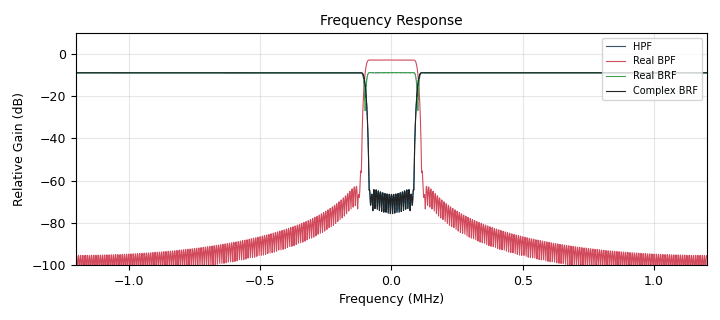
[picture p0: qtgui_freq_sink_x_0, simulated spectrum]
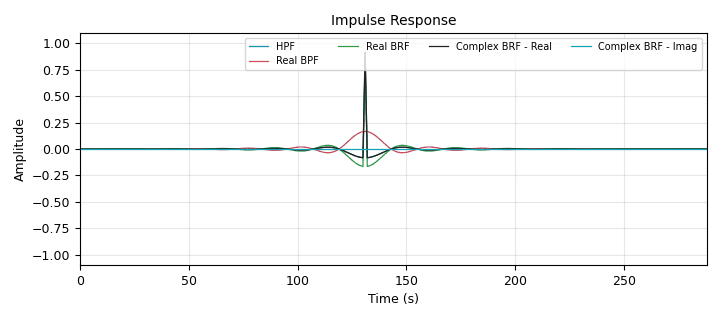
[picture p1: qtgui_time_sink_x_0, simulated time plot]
options:
  parameters:
    generate_options: qt_gui
    id: complex_bandreject
    output_language: python
    title: Making Complex Bandreject
  states: {}

blocks:
- name: M
  id: variable
  parameters:
    value: int((num_taps-1)/2)
  states: {}
- name: N
  id: variable
  parameters:
    value: 2**12
  states: {}
- name: all_pass
  id: variable
  parameters:
    comment: All-pass filter
    value: '[0,]*M+[1,]+[0,]*M'
  states: {}
- name: bw
  id: variable
  parameters:
    comment: |-
      Bandwidth of
      filter
    value: 200e3
  states: {}
- name: complex_brf
  id: variable
  parameters:
    value: np.multiply(hpf,complex_shift)
  states: {}
- name: complex_shift
  id: variable
  parameters:
    value: np.exp(2j*np.pi*n*f/samp_rate)
  states: {}
- name: f
  id: variable_qtgui_range
  parameters:
    gui_hint: 0,0,1,20
    label: Filter Frequency (Hz)
    start: '-samp_rate/2'
    step: 10e3
    stop: samp_rate/2
    value: '0'
  states: {}
- name: hpf
  id: variable
  parameters:
    value: np.multiply(sinc_hpf,w)
  states: {}
- name: impulse
  id: variable
  parameters:
    comment: |-
      Generate impulses for testing
      filter frequency responses
    value: '[0,]*int(N/2)+[N,]+[0,]*int((N/2)-1)'
  states: {}
- name: limit_high
  id: variable
  parameters:
    comment: 'Value: f+(bw/2)'
    value: f+(bw/2)
  states: {}
- name: limit_low
  id: variable
  parameters:
    comment: 'Value: f-(bw/2)'
    value: f-(bw/2)
  states: {}
- name: n
  id: variable
  parameters:
    value: np.arange(-M,M+1,1)
  states: {}
- name: num_taps
  id: variable
  parameters:
    value: '289'
  states: {}
- name: real_bpf
  id: variable
  parameters:
    value: np.multiply(sinc_bpf,w)
  states: {}
- name: real_brf
  id: variable
  parameters:
    value: np.multiply(sinc_brf,w)
  states: {}
- name: samp_rate
  id: variable
  parameters:
    value: 2.4e6
  states: {}
- name: sinc_bpf
  id: variable
  parameters:
    value: np.subtract(sinc_high,sinc_low)
  states: {}
- name: sinc_brf
  id: variable
  parameters:
    value: np.subtract(all_pass,sinc_bpf)
  states: {}
- name: sinc_fixed
  id: variable
  parameters:
    value: 2*(bw/2)/samp_rate*np.sinc(2*n*(bw/2)/samp_rate)
  states: {}
- name: sinc_high
  id: variable
  parameters:
    comment: |-
      Sinc curve for high frequency
      limit.
    value: 2*(limit_high)/samp_rate*np.sinc(2*n*(limit_high)/samp_rate)
  states: {}
- name: sinc_hpf
  id: variable
  parameters:
    value: np.subtract(all_pass,sinc_fixed)
  states: {}
- name: sinc_low
  id: variable
  parameters:
    comment: |-
      Sinc curve for low frequency
      limit.
    value: 2*(limit_low)/samp_rate*np.sinc(2*n*(limit_low)/samp_rate)
  states: {}
- name: w
  id: variable
  parameters:
    comment: Create window
    value: window.hamming(num_taps)
  states: {}
- name: blocks_complex_to_float_0
  id: blocks_complex_to_float
  parameters: {}
  states: {}
- name: blocks_complex_to_real_0
  id: blocks_complex_to_real
  parameters: {}
  states: {}
- name: blocks_complex_to_real_0_0
  id: blocks_complex_to_real
  parameters: {}
  states: {}
- name: blocks_complex_to_real_0_0_0
  id: blocks_complex_to_real
  parameters: {}
  states: {}
- name: blocks_delay_0
  id: blocks_delay
  parameters:
    delay: M
    type: complex
  states: {}
- name: blocks_throttle2_0
  id: blocks_throttle2
  parameters:
    samples_per_second: samp_rate
    type: complex
  states: {}
- name: blocks_vector_source_x_1
  id: blocks_vector_source_x
  parameters:
    repeat: 'True'
    type: complex
    vector: impulse
  states: {}
- name: blocks_vector_source_x_1_0
  id: blocks_vector_source_x
  parameters:
    repeat: 'True'
    type: complex
    vector: all_pass
  states: {}
- name: fft_filter_xxx_0
  id: fft_filter_xxx
  parameters:
    decim: '1'
    taps: hpf
    type: ccc
  states: {}
- name: fft_filter_xxx_0_0
  id: fft_filter_xxx
  parameters:
    decim: '1'
    taps: real_bpf
    type: ccc
  states: {}
- name: fft_filter_xxx_0_0_0
  id: fft_filter_xxx
  parameters:
    decim: '1'
    taps: real_brf
    type: ccc
  states: {}
- name: fft_filter_xxx_0_0_0_0
  id: fft_filter_xxx
  parameters:
    decim: '1'
    taps: complex_brf
    type: ccc
  states: {}
- name: fft_filter_xxx_0_0_0_0_0
  id: fft_filter_xxx
  parameters:
    decim: '1'
    taps: complex_brf
    type: ccc
  states: {}
- name: fft_filter_xxx_0_0_0_1
  id: fft_filter_xxx
  parameters:
    decim: '1'
    taps: real_brf
    type: ccf
  states: {}
- name: fft_filter_xxx_0_0_1
  id: fft_filter_xxx
  parameters:
    decim: '1'
    taps: real_bpf
    type: ccf
  states: {}
- name: fft_filter_xxx_0_1
  id: fft_filter_xxx
  parameters:
    decim: '1'
    taps: hpf
    type: ccf
  states: {}
- name: import_0
  id: import
  parameters:
    imports: import numpy as np
  states: {}
- name: note_0
  id: note
  parameters:
    note: Frequency Response
  states: {}
- name: note_1
  id: note
  parameters:
    note: Impulse Response
  states: {}
- name: qtgui_freq_sink_x_0
  id: qtgui_freq_sink_x
  parameters:
    bw: samp_rate
    color1: '"black"'
    color2: '"green"'
    color3: '"magenta"'
    color4: '"blue"'
    fc: '0'
    fftsize: N
    gui_hint: 1,0,10,20
    label1: HPF
    label2: Real BPF
    label3: Real BRF
    label4: Complex BRF
    name: Frequency Response
    nconnections: '4'
    type: complex
    ymin: '-100'
  states: {}
- name: qtgui_time_sink_x_0
  id: qtgui_time_sink_x
  parameters:
    color1: black
    color2: green
    color3: magenta
    color4: blue
    color5: red
    gui_hint: 11,0,10,20
    label1: HPF
    label2: Real BPF
    label3: Real BRF
    label4: Complex BRF - Real
    label5: Complex BRF - Imag
    name: Impulse Response
    nconnections: '5'
    size: num_taps
    srate: '1'
    tr_level: '0'
    type: float
    ymax: 1.2*np.max(hpf)
    ymin: '-1.2*np.max(hpf)'
  states: {}

connections:
- [blocks_complex_to_float_0, '0', qtgui_time_sink_x_0, '3']
- [blocks_complex_to_float_0, '1', qtgui_time_sink_x_0, '4']
- [blocks_complex_to_real_0, '0', qtgui_time_sink_x_0, '2']
- [blocks_complex_to_real_0_0, '0', qtgui_time_sink_x_0, '1']
- [blocks_complex_to_real_0_0_0, '0', qtgui_time_sink_x_0, '0']
- [blocks_delay_0, '0', fft_filter_xxx_0_0_0_0_0, '0']
- [blocks_delay_0, '0', fft_filter_xxx_0_0_0_1, '0']
- [blocks_delay_0, '0', fft_filter_xxx_0_0_1, '0']
- [blocks_delay_0, '0', fft_filter_xxx_0_1, '0']
- [blocks_throttle2_0, '0', fft_filter_xxx_0, '0']
- [blocks_throttle2_0, '0', fft_filter_xxx_0_0, '0']
- [blocks_throttle2_0, '0', fft_filter_xxx_0_0_0, '0']
- [blocks_throttle2_0, '0', fft_filter_xxx_0_0_0_0, '0']
- [blocks_vector_source_x_1, '0', blocks_throttle2_0, '0']
- [blocks_vector_source_x_1_0, '0', blocks_delay_0, '0']
- [fft_filter_xxx_0, '0', qtgui_freq_sink_x_0, '0']
- [fft_filter_xxx_0_0, '0', qtgui_freq_sink_x_0, '1']
- [fft_filter_xxx_0_0_0, '0', qtgui_freq_sink_x_0, '2']
- [fft_filter_xxx_0_0_0_0, '0', qtgui_freq_sink_x_0, '3']
- [fft_filter_xxx_0_0_0_0_0, '0', blocks_complex_to_float_0, '0']
- [fft_filter_xxx_0_0_0_1, '0', blocks_complex_to_real_0, '0']
- [fft_filter_xxx_0_0_1, '0', blocks_complex_to_real_0_0, '0']
- [fft_filter_xxx_0_1, '0', blocks_complex_to_real_0_0_0, '0']

metadata:
  file_format: 1
  grc_version: 3.10.9.2
